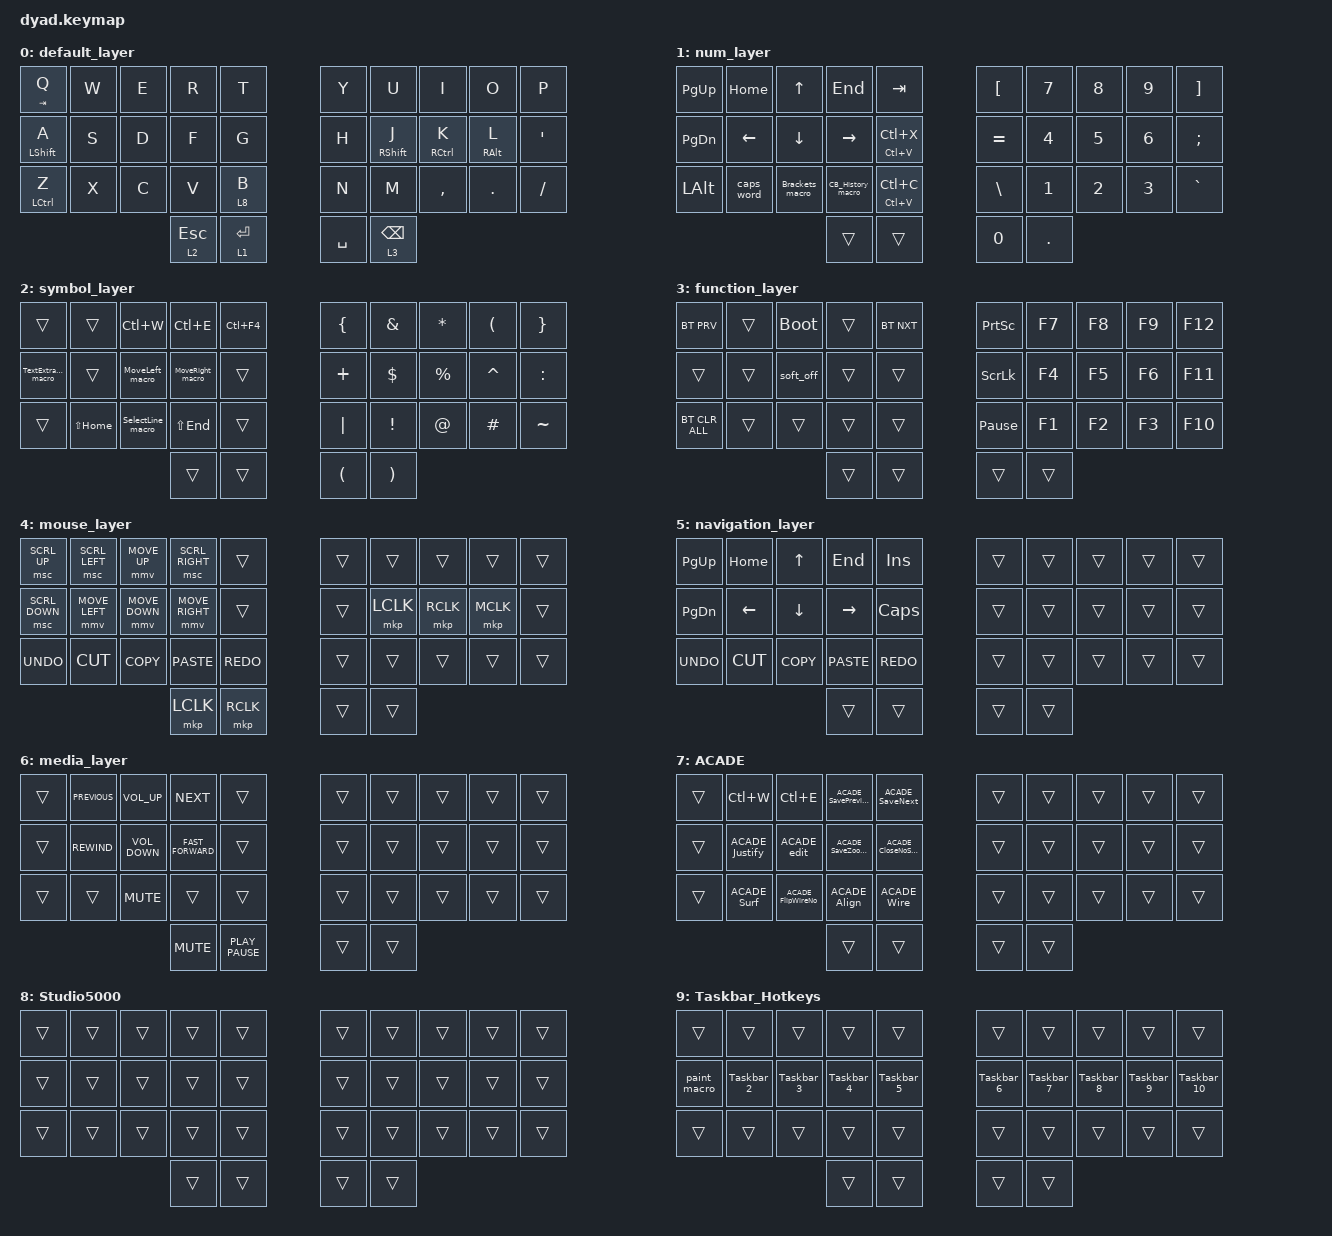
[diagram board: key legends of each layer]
#define ZMK_POINTING_DEFAULT_MOVE_VAL 1200  // default: 600
#define ZMK_POINTING_DEFAULT_SCRL_VAL 20    // default: 10

#include <behaviors.dtsi>
#include <dt-bindings/zmk/bt.h>
#include <dt-bindings/zmk/keys.h>
#include <dt-bindings/zmk/pointing.h>
#include <dt-bindings/zmk/mouse.h>
#include <dt-bindings/zmk/outputs.h>

&mt {
    tapping-term-ms = <250>;
    flavor = "tap-preferred";
};

/ {
    combos {
        compatible = "zmk,combos";

        delete_combo2 {
            bindings = <&kp DELETE>;
            key-positions = <9 19>;
            layers = <0>;
        };

        minus_combo {
            bindings = <&kp MINUS>;
            key-positions = <32 33>;
            layers = <1>;
        };

        undo_combo {
            bindings = <&kp LC(Z)>;
            key-positions = <20 21>;
            layers = <0 1>;
        };

        BackspaceWord_combo {
            bindings = <&lt 7 LC(BACKSPACE)>;
            key-positions = <30 31>;
            layers = <0>;
        };

        delete_comb {
            bindings = <&lt 9 DELETE>;
            key-positions = <33 32>;
            layers = <0>;
        };

        F5_combo {
            bindings = <&kp F5>;
            key-positions = <17 7>;
            layers = <0>;
        };

        prtscn_combo {
            bindings = <&kp PRINTSCREEN>;
            key-positions = <15 5>;
            layers = <0>;
        };

        underscore_combo {
            bindings = <&kp UNDERSCORE>;
            key-positions = <32 33>;
            layers = <2>;
        };

        pin_combo {
            bindings = <&pin_macro>;
            key-positions = <30 33 31 32>;
        };

        Caps {
            bindings = <&kp CAPS>;
            key-positions = <1 2>;
            layers = <0>;
        };

        Delete {
            bindings = <&kp DELETE>;
            key-positions = <4 3>;
            layers = <0>;
        };

        NewWindow_macro {
            bindings = <&NewWindow_macro>;
            key-positions = <14 2>;
            layers = <0>;
        };

        Search {
            bindings = <&kp LC(E)>;
            key-positions = <3 2>;
            layers = <0>;
        };

        SwitchTabs {
            bindings = <&kp LA(TAB)>;
            key-positions = <24 23>;
            layers = <0>;
        };

        Paint {
            bindings = <&paint_macro>;
            key-positions = <5 6>;
            layers = <0>;
        };

        InternalTabs {
            bindings = <&kp LC(TAB)>;
            key-positions = <24 22>;
            layers = <0>;
        };

        CTRL_S {
            bindings = <&kp LC(S)>;
            key-positions = <0 1>;
            layers = <0>;
        };

        REDO {
            bindings = <&kp LC(Y)>;
            key-positions = <10 11>;
            layers = <0 1>;
        };

        CloseInternal {
            bindings = <&kp LC(F4)>;
            key-positions = <24 25>;
        };

        CloseWindow {
            bindings = <&kp LA(F4)>;
            key-positions = <14 15>;
        };

        Windows {
            bindings = <&kp LEFT_WIN>;
            key-positions = <29 19>;
        };

        Alt {
            bindings = <&kp LEFT_ALT>;
            key-positions = <20 10>;
        };

        CtrlAltDel {
            bindings = <&CtrlAltDel>;
            key-positions = <0 20 10>;
        };

        insert {
            bindings = <&kp INSERT>;
            key-positions = <9 8>;
        };

        TabEnter {
            bindings = <&ACADE_TabEnter>;
            key-positions = <13 12>;
            layers = <1>;
        };
    };

    macros {
        pin_macro: pin_macro {
            compatible = "zmk,behavior-macro";
            #binding-cells = <0>;
            bindings = <&kp LS(M) &kp I &kp S &kp S &kp LS(D) &kp A &kp I &kp S &kp Y &kp MINUS &kp N1 &kp N2 &kp N3 &kp NUMBER_4 &kp N5>;
            label = "PIN_MACRO";
            wait-ms = <25>;
            tap-ms = <25>;
        };

        NewWindow_macro: NewWindow_macro {
            compatible = "zmk,behavior-macro";
            #binding-cells = <0>;
            bindings =
                <&macro_press>,
                <&kp LEFT_WIN>,
                <&macro_tap>,
                <&kp E>,
                <&macro_release>,
                <&kp LEFT_WIN>;

            label = "NEWWINDOW_MACRO";
            wait-ms = <50>;
            tap-ms = <50>;
        };

        Switch_macro: Switch_macro {
            compatible = "zmk,behavior-macro";
            #binding-cells = <0>;
            bindings =
                <&macro_press>,
                <&kt LEFT_WIN>,
                <&macro_tap>,
                <&kp TAB>,
                <&macro_release>,
                <&kp LEFT_WIN>;

            label = "SWITCH_MACRO";
            wait-ms = <25>;
            tap-ms = <25>;
        };

        paint_macro: paint_macro {
            compatible = "zmk,behavior-macro";
            #binding-cells = <0>;
            bindings =
                <&macro_press>,
                <&kp LEFT_WIN>,
                <&macro_tap>,
                <&kp NUMBER_1>,
                <&macro_release>,
                <&kp LEFT_WIN>;

            label = "PAINT_MACRO";
            wait-ms = <50>;
            tap-ms = <50>;
        };

        Brackets_macro: Brackets_macro {
            compatible = "zmk,behavior-macro";
            #binding-cells = <0>;
            bindings = <&kp LEFT_PARENTHESIS &kp RIGHT_PARENTHESIS &kp LEFT>;
            label = "BRACKETS_MACRO";
            wait-ms = <50>;
            tap-ms = <50>;
        };

        CB_History_macro: CB_History_macro {
            compatible = "zmk,behavior-macro";
            #binding-cells = <0>;
            bindings =
                <&macro_press>,
                <&kp LEFT_WIN>,
                <&macro_tap>,
                <&kp V>,
                <&macro_release>,
                <&kp LEFT_WIN>;

            label = "CB_History_macro";
            wait-ms = <1>;
            tap-ms = <1>;
        };

        MoveRight_macro: MoveRight_macro {
            compatible = "zmk,behavior-macro";
            #binding-cells = <0>;
            bindings =
                <&macro_press>,
                <&kp LEFT_WIN &kp LEFT_SHIFT>,
                <&macro_tap>,
                <&kp RIGHT>,
                <&macro_release>,
                <&kp LEFT_WIN &kp LEFT_SHIFT>;

            label = "MOVERIGHT_MACRO";
            wait-ms = <1>;
            tap-ms = <1>;
        };

        SelectLine_macro: SelectLine_macro {
            compatible = "zmk,behavior-macro";
            #binding-cells = <0>;
            bindings = <&kp HOME &kp LS(END)>;
            label = "SELECTLINE_MACRO";
        };

        MoveLeft_macro: MoveLeft_macro {
            compatible = "zmk,behavior-macro";
            #binding-cells = <0>;
            bindings =
                <&macro_press>,
                <&kp LEFT_WIN &kp LEFT_SHIFT>,
                <&macro_tap>,
                <&kp LEFT>,
                <&macro_release>,
                <&kp LEFT_WIN &kp LEFT_SHIFT>;

            label = "MOVELEFT_MACRO";
            wait-ms = <1>;
            tap-ms = <1>;
        };

        TextExtractor_macro: TextExtractor_macro {
            compatible = "zmk,behavior-macro";
            #binding-cells = <0>;
            bindings =
                <&macro_press>,
                <&kp LEFT_WIN &kp LEFT_SHIFT>,
                <&macro_tap>,
                <&kp T>,
                <&macro_release>,
                <&kp LEFT_WIN &kp LEFT_SHIFT>;

            label = "TEXTEXTRACTOR_MACRO";
            wait-ms = <1>;
            tap-ms = <1>;
        };

        ACADE_SaveZoomClose: SaveZoomClose {
            compatible = "zmk,behavior-macro";
            #binding-cells = <0>;
            bindings = <&kp S &kp V &kp RET>;
            label = "SAVEZOOMCLOSE";
        };

        ACADE_CloseNoSave: ACADE_close {
            compatible = "zmk,behavior-macro";
            #binding-cells = <0>;
            bindings = <&kp C &kp C &kp RET>;
            label = "ACADE_CLOSE";
        };

        ACADE_edit: ACADE_edit {
            compatible = "zmk,behavior-macro";
            #binding-cells = <0>;
            bindings = <&kp E &kp D &kp I &kp T &kp RET>;
            label = "ACADE_EDIT";
        };

        ACADE_Align: ACADE_Align {
            compatible = "zmk,behavior-macro";
            #binding-cells = <0>;
            bindings = <&kp A &kp E &kp A &kp RET>;
            label = "ACADE_ALIGN";
        };

        ACADE_SaveNext: ACADE_SaveNext {
            compatible = "zmk,behavior-macro";
            #binding-cells = <0>;
            bindings = <&kp N &kp N &kp RET>;
            label = "ACADE_SAVENEXT";
        };

        ACADE_SavePrevious: ACADE_SavePrevious {
            compatible = "zmk,behavior-macro";
            #binding-cells = <0>;
            bindings = <&kp B &kp B &kp RET>;
            label = "ACADE_SAVEPREVIOUS";
        };

        ACADE_Wire: ACADE_Wire {
            compatible = "zmk,behavior-macro";
            #binding-cells = <0>;
            bindings = <&kp A &kp E &kp W &kp RET>;
            label = "ACADE_WIRE";
        };

        ACADE_FlipWireNo: ACADE_FlipWireNo {
            compatible = "zmk,behavior-macro";
            #binding-cells = <0>;
            bindings = <&kp A &kp E &kp F &kp L &kp W &kp RET>;
            label = "ACADE_FLIPWIRENO";
        };

        ACADE_Justify: ACADE_Justify {
            compatible = "zmk,behavior-macro";
            #binding-cells = <0>;
            bindings = <&kp A &kp E &kp J &kp RET>;
            label = "ACADE_JUSTIFY";
        };

        ACADE_Surf: ACADE_Surf {
            compatible = "zmk,behavior-macro";
            #binding-cells = <0>;
            bindings = <&kp A &kp E &kp S &kp RET>;
            label = "ACADE_SURF";
        };

        Taskbar_2: Taskbar_1 {
            compatible = "zmk,behavior-macro";
            #binding-cells = <0>;
            bindings =
                <&macro_press>,
                <&kp LEFT_WIN>,
                <&macro_tap>,
                <&kp NUMBER_2>,
                <&macro_release>,
                <&kp LEFT_WIN>;

            label = "TASKBAR_1";
            wait-ms = <50>;
            tap-ms = <50>;
        };

        Taskbar_3: Taskbar_3 {
            compatible = "zmk,behavior-macro";
            #binding-cells = <0>;
            bindings =
                <&macro_press>,
                <&kp LEFT_WIN>,
                <&macro_tap>,
                <&kp NUMBER_3>,
                <&macro_release>,
                <&kp LEFT_WIN>;

            label = "TASKBAR_3";
            wait-ms = <50>;
            tap-ms = <50>;
        };

        Taskbar_4: Taskbar_4 {
            compatible = "zmk,behavior-macro";
            #binding-cells = <0>;
            bindings =
                <&macro_press>,
                <&kp LEFT_WIN>,
                <&macro_tap>,
                <&kp NUMBER_4>,
                <&macro_release>,
                <&kp LEFT_WIN>;

            label = "TASKBAR_4";
            wait-ms = <50>;
            tap-ms = <50>;
        };

        Taskbar_5: Taskbar_5 {
            compatible = "zmk,behavior-macro";
            #binding-cells = <0>;
            bindings =
                <&macro_press>,
                <&kp LEFT_WIN>,
                <&macro_tap>,
                <&kp N5>,
                <&macro_release>,
                <&kp LEFT_WIN>;

            label = "TASKBAR_5";
            wait-ms = <50>;
            tap-ms = <50>;
        };

        CtrlAltDel: CtrlAltDel {
            compatible = "zmk,behavior-macro";
            #binding-cells = <0>;
            bindings =
                <&macro_press>,
                <&kp LEFT_CONTROL>,
                <&macro_press>,
                <&kp LEFT_ALT>,
                <&macro_press>,
                <&kp DELETE>,
                <&macro_release>,
                <&kp LEFT_CONTROL>,
                <&macro_release>,
                <&kp LEFT_ALT>,
                <&macro_release>,
                <&kp DELETE>;

            label = "CTRLALTDEL";
        };

        Taskbar_6: Taskbar_6 {
            compatible = "zmk,behavior-macro";
            #binding-cells = <0>;
            bindings =
                <&macro_press>,
                <&kp LEFT_WIN>,
                <&macro_tap>,
                <&kp NUMBER_6>,
                <&macro_release>,
                <&kp LEFT_WIN>;

            label = "TASKBAR_6";
            wait-ms = <50>;
            tap-ms = <50>;
        };

        Taskbar_7: Taskbar_7 {
            compatible = "zmk,behavior-macro";
            #binding-cells = <0>;
            bindings =
                <&macro_press>,
                <&kp LEFT_WIN>,
                <&macro_tap>,
                <&kp N7>,
                <&macro_release>,
                <&kp LEFT_WIN>;

            label = "TASKBAR_7";
            wait-ms = <50>;
            tap-ms = <50>;
        };

        Taskbar_8: Taskbar_8 {
            compatible = "zmk,behavior-macro";
            #binding-cells = <0>;
            bindings =
                <&macro_press>,
                <&kp LEFT_WIN>,
                <&macro_tap>,
                <&kp N8>,
                <&macro_release>,
                <&kp LEFT_WIN>;

            label = "TASKBAR_8";
            wait-ms = <50>;
            tap-ms = <50>;
        };

        Taskbar_9: Taskbar_9 {
            compatible = "zmk,behavior-macro";
            #binding-cells = <0>;
            bindings =
                <&macro_press>,
                <&kp LEFT_WIN>,
                <&macro_tap>,
                <&kp NUMBER_9>,
                <&macro_release>,
                <&kp LEFT_WIN>;

            label = "TASKBAR_9";
            wait-ms = <50>;
            tap-ms = <50>;
        };

        Taskbar_10: Taskbar_10 {
            compatible = "zmk,behavior-macro";
            #binding-cells = <0>;
            bindings =
                <&macro_press>,
                <&kp LEFT_WIN>,
                <&macro_tap>,
                <&kp NUMBER_0>,
                <&macro_release>,
                <&kp LEFT_WIN>;

            label = "TASKBAR_10";
            wait-ms = <50>;
            tap-ms = <50>;
        };

        ACADE_TabEnter: ACADE_TabEnter {
            compatible = "zmk,behavior-macro";
            #binding-cells = <0>;
            bindings =
                <&macro_tap>,
                <&kp TAB>,
                <&macro_wait_time 50>,
                <&kp ENTER>;

            label = "ACADE_TABENTER";
        };
    };

    keymap {
        compatible = "zmk,keymap";

        default_layer {
            // -----------------------------------------------------------------------------------------
            // |  TAB |  Q  |  W  |  E  |  R  |  T  |   |  Y  |  U   |  I  |  O  |  P  | BSPC |
            // | CTRL |  A  |  S  |  D  |  F  |  G  |   |  H  |  J   |  K  |  L  |  ;  |  '   |
            // | SHFT |  Z  |  X  |  C  |  V  |  B  |   |  N  |  M   |  ,  |  .  |  /  | ESC  |
            //                    | GUI | LWR | SPC |   | ENT | RSE  | ALT |

            bindings = <
&mt TAB Q    &kp W  &kp E  &kp R      &kp T        &kp Y      &kp U              &kp I                &kp O            &kp P
&mt LSHFT A  &kp S  &kp D  &kp F      &kp G        &kp H      &mt RIGHT_SHIFT J  &mt RIGHT_CONTROL K  &mt RIGHT_ALT L  &kp APOS
&mt LCTRL Z  &kp X  &kp C  &kp V      &lt 8 B      &kp N      &kp M              &kp COMMA            &kp PERIOD       &kp SLASH
                           &lt 2 ESC  &lt 1 ENTER  &kp SPACE  &lt 3 BACKSPACE
            >;
        };

        num_layer {
            // -----------------------------------------------------------------------------------------
            // |  TAB |  1  |  2  |  3  |  4  |  5  |   |  6  |  7  |  8  |  9  |  0  | BSPC |
            // | BTCLR| BT1 | BT2 | BT3 | BT4 | BT5 |   | LFT | DWN |  UP | RGT |     |      |
            // | SHFT |     |     |     |     |     |   |     |     |     |     |     |      |
            //                    | GUI |     | SPC |   | ENT |     | ALT |

            bindings = <
&kp PAGE_UP    &kp HOME        &kp UP_ARROW     &kp END            &kp TAB          &kp LEFT_BRACKET  &kp N7        &kp N8        &kp N9        &kp RIGHT_BRACKET
&kp PAGE_DOWN  &kp LEFT_ARROW  &kp DOWN_ARROW   &kp RIGHT_ARROW    &mt LC(V) LC(X)  &kp EQUAL         &kp NUMBER_4  &kp N5        &kp NUMBER_6  &kp SEMICOLON
&kp LEFT_ALT   &caps_word      &Brackets_macro  &CB_History_macro  &mt LC(V) LC(C)  &kp BACKSLASH     &kp NUMBER_1  &kp NUMBER_2  &kp NUMBER_3  &kp GRAVE
                                                &trans             &trans           &kp N0            &kp PERIOD
            >;
        };

        symbol_layer {
            bindings = <
&trans                &trans        &kp LC(W)          &kp LC(E)         &kp LC(F4)  &kp LEFT_BRACE        &kp AMPERSAND          &kp ASTERISK  &kp LEFT_PARENTHESIS  &kp RIGHT_BRACE
&TextExtractor_macro  &trans        &MoveLeft_macro    &MoveRight_macro  &trans      &kp PLUS              &kp DOLLAR             &kp PERCENT   &kp CARET             &kp COLON
&trans                &kp LS(HOME)  &SelectLine_macro  &kp LS(END)       &trans      &kp PIPE              &kp EXCLAMATION        &kp AT_SIGN   &kp HASH              &kp TILDE
                                                       &trans            &trans      &kp LEFT_PARENTHESIS  &kp RIGHT_PARENTHESIS
            >;
        };

        function_layer {
            bindings = <
&bt BT_PRV      &trans  &bootloader  &trans  &bt BT_NXT  &kp PRINTSCREEN  &kp F7  &kp F8  &kp F9  &kp F12
&trans          &trans  &soft_off    &trans  &trans      &kp SCROLLLOCK   &kp F4  &kp F5  &kp F6  &kp F11
&bt BT_CLR_ALL  &trans  &trans       &trans  &trans      &kp PAUSE_BREAK  &kp F1  &kp F2  &kp F3  &kp F10
                                     &trans  &trans      &trans           &trans
            >;
        };

        mouse_layer {
            bindings = <
&msc SCRL_UP    &msc SCRL_LEFT  &mmv MOVE_UP    &msc SCRL_RIGHT  &trans      &trans  &trans     &trans     &trans     &trans
&msc SCRL_DOWN  &mmv MOVE_LEFT  &mmv MOVE_DOWN  &mmv MOVE_RIGHT  &trans      &trans  &mkp LCLK  &mkp RCLK  &mkp MCLK  &trans
&kp K_UNDO      &kp K_CUT       &kp K_COPY      &kp K_PASTE      &kp K_REDO  &trans  &trans     &trans     &trans     &trans
                                                &mkp LCLK        &mkp RCLK   &trans  &trans
            >;
        };

        navigation_layer {
            bindings = <
&kp PAGE_UP    &kp HOME        &kp UP_ARROW    &kp END      &kp INSERT    &trans  &trans  &trans  &trans  &trans
&kp PAGE_DOWN  &kp LEFT_ARROW  &kp DOWN_ARROW  &kp RIGHT    &kp CAPSLOCK  &trans  &trans  &trans  &trans  &trans
&kp K_UNDO     &kp K_CUT       &kp K_COPY      &kp K_PASTE  &kp K_REDO    &trans  &trans  &trans  &trans  &trans
                                               &trans       &trans        &trans  &trans
            >;
        };

        media_layer {
            bindings = <
&trans  &kp K_PREVIOUS  &kp C_VOLUME_UP    &kp K_NEXT          &trans            &trans  &trans  &trans  &trans  &trans
&trans  &kp C_REWIND    &kp C_VOLUME_DOWN  &kp C_FAST_FORWARD  &trans            &trans  &trans  &trans  &trans  &trans
&trans  &trans          &kp K_MUTE         &trans              &trans            &trans  &trans  &trans  &trans  &trans
                                           &kp K_MUTE          &kp K_PLAY_PAUSE  &trans  &trans
            >;
        };

        ACADE {
            bindings = <
&trans  &kp LC(W)       &kp LC(E)          &ACADE_SavePrevious   &ACADE_SaveNext     &trans  &trans  &trans  &trans  &trans
&trans  &ACADE_Justify  &ACADE_edit        &ACADE_SaveZoomClose  &ACADE_CloseNoSave  &trans  &trans  &trans  &trans  &trans
&trans  &ACADE_Surf     &ACADE_FlipWireNo  &ACADE_Align          &ACADE_Wire         &trans  &trans  &trans  &trans  &trans
                                           &trans                &trans              &trans  &trans
            >;
        };

        Studio5000 {
            bindings = <
&trans  &trans  &trans  &trans  &trans  &trans  &trans  &trans  &trans  &trans
&trans  &trans  &trans  &trans  &trans  &trans  &trans  &trans  &trans  &trans
&trans  &trans  &trans  &trans  &trans  &trans  &trans  &trans  &trans  &trans
                        &trans  &trans  &trans  &trans
            >;
        };

        Taskbar_Hotkeys {
            bindings = <
&trans        &trans      &trans      &trans      &trans      &trans      &trans      &trans      &trans      &trans
&paint_macro  &Taskbar_2  &Taskbar_3  &Taskbar_4  &Taskbar_5  &Taskbar_6  &Taskbar_7  &Taskbar_8  &Taskbar_9  &Taskbar_10
&trans        &trans      &trans      &trans      &trans      &trans      &trans      &trans      &trans      &trans
                                      &trans      &trans      &trans      &trans
            >;
        };
    };
};
